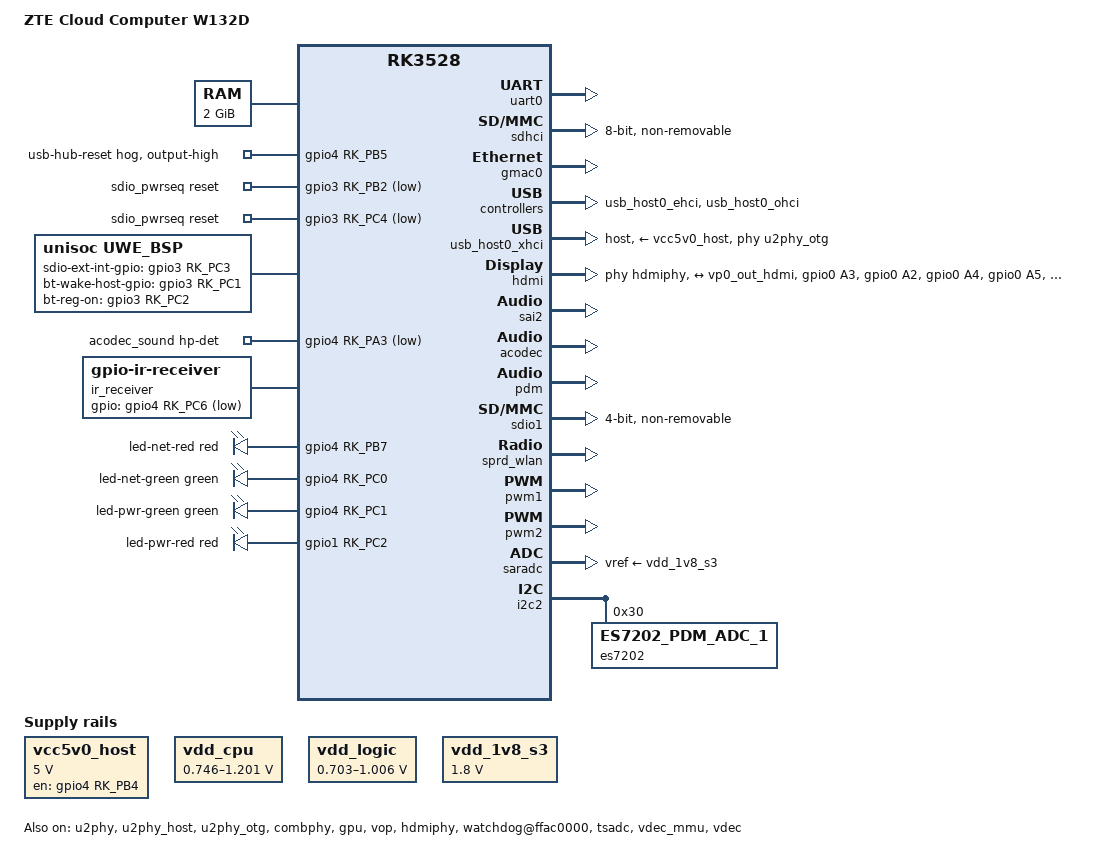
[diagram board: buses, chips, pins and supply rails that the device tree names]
// SPDX-License-Identifier: (GPL-2.0+ OR MIT)
/*
 * ZTE Cloud Computer W132D - Linux v7.1.10 stable baseline.
 *
 * This file intentionally starts from the upstream RK3528 SoC description.
 * Vendor-only rk3528-linux.dtsi nodes are not included here.
 */

/dts-v1/;

#include "rk3528.dtsi"
#include <dt-bindings/gpio/gpio.h>
#include <dt-bindings/leds/common.h>
#include <dt-bindings/phy/phy.h>
#include <dt-bindings/soc/rockchip,vop2.h>
#include <dt-bindings/thermal/thermal.h>

/ {
	model = "ZTE Cloud Computer W132D";
	compatible = "zte,w132d", "rockchip,rk3528";

	/* Mainline DRM master for the experimental RK3528 display path. */
	display_subsystem: display-subsystem {
		compatible = "rockchip,display-subsystem";
		ports = <&vop_out>;
		status = "okay";
	};

	aliases {
		ethernet0 = &gmac0;
		mmc0 = &sdhci;
		serial0 = &uart0;
	};

	chosen {
		stdout-path = "serial0:115200n8";
	};

	memory@0 {
		device_type = "memory";
		reg = <0x0 0x0 0x0 0x80000000>;
	};

	vcc5v0_host: regulator-5v0-host {
		compatible = "regulator-fixed";
		regulator-name = "vcc5v0_host";
		regulator-min-microvolt = <5000000>;
		regulator-max-microvolt = <5000000>;
		regulator-boot-on;
		regulator-always-on;
		enable-active-high;
		gpios = <&gpio4 RK_PB4 GPIO_ACTIVE_HIGH>;
	};
};

/* GM8220S USB2 hub reset is active-low; hold it deasserted. */
&gpio4 {
	usb_hub_reset_hog: usb-hub-reset-hog {
		gpio-hog;
		gpios = <RK_PB5 GPIO_ACTIVE_HIGH>;
		output-high;
		line-name = "usb-hub-reset";
	};
};

&uart0 {
	pinctrl-names = "default";
	pinctrl-0 = <&uart0m0_xfer>;
	status = "okay";
};

&sdhci {
	bus-width = <8>;
	cap-mmc-highspeed;
	max-frequency = <52000000>;
	/*
	 * Deliberately no fixed-emmc-driver-type: the vendor reference board uses
	 * type 4, but the Samsung 07S000 part fitted here rejects it and the MMC
	 * core falls back to type B anyway.
	 */
	no-sd;
	no-sdio;
	non-removable;
	status = "okay";
};

&gmac0 {
	clock_in_out = "input";
	status = "okay";
};

/* Use the upstream-style RK3528 USB2 PHY and DWC3 nodes. */
&u2phy {
	status = "okay";
};

&u2phy_host {
	phy-supply = <&vcc5v0_host>;
	status = "okay";
};

&u2phy_otg {
	phy-supply = <&vcc5v0_host>;
	status = "okay";
};

&usb_host0_ehci {
	status = "okay";
};

&usb_host0_ohci {
	status = "okay";
};

&combphy {
	status = "okay";
};

&usb_host0_xhci {
	dr_mode = "host";
	phys = <&u2phy_otg>, <&combphy PHY_TYPE_USB3>;
	phy-names = "usb2-phy", "usb3-phy";
	vbus-supply = <&vcc5v0_host>;
	maximum-speed = "super-speed";
	status = "okay";
};

/*
 * RK3528 display bring-up.  The board now selects project-local RK3528
 * HDMI PHY/glue matches; VOP2 register data is still being ported.
 */
&{/soc} {
	vop: vop@ff840000 {
		compatible = "rockchip,rk3528-vop", "rockchip,rk3568-vop";
		reg = <0x0 0xff840000 0x0 0x3000>,
		      <0x0 0xff845000 0x0 0x1000>,
		      <0x0 0xff846400 0x0 0x800>;
		reg-names = "vop", "gamma-lut", "acm-regs";
		interrupts = <GIC_SPI 109 IRQ_TYPE_LEVEL_HIGH>;
		clocks = <&cru ACLK_VOP>,
				 <&cru HCLK_VOP>,
				 <&cru DCLK_VOP0>,
				 <&cru DCLK_VOP1>,
				 <&cru DCLK_VOP1>;
		clock-names = "aclk", "hclk", "dclk_vp0", "dclk_vp1", "dclk_vp2";
		assigned-clocks = <&cru DCLK_VOP0>;
		assigned-clock-parents = <&inno_hdmiphy_clk>;
		rockchip,grf = <&vo_grf>;
		status = "okay";

		vop_out: ports {
			#address-cells = <1>;
			#size-cells = <0>;

			port@0 {
				#address-cells = <1>;
				#size-cells = <0>;
				reg = <0>;

				vp0_out_hdmi: endpoint@ROCKCHIP_VOP2_EP_HDMI0 {
					reg = <ROCKCHIP_VOP2_EP_HDMI0>;
					remote-endpoint = <&hdmi_in_vp0>;
				};
			};
		};
	};

	hdmiphy: hdmiphy@ffe00000 {
		compatible = "rockchip,rk3528-hdmi-phy", "rockchip,rk3328-hdmi-phy";
		reg = <0x0 0xffe00000 0x0 0x10000>;
		interrupts = <GIC_SPI 101 IRQ_TYPE_LEVEL_HIGH>;
		#phy-cells = <0>;
		clocks = <&cru PCLK_HDMIPHY>, <&xin24m>;
		clock-names = "sysclk", "refclk";
		status = "okay";

		/* RK3528 exposes the pixel clock through the dedicated clk-port. */
		inno_hdmiphy_clk: clk-port {
			#clock-cells = <0>;
			clock-output-names = "clk_hdmiphy_pixel_io";
			status = "okay";
		};
	};

	hdmi: hdmi@ff8d0000 {
		compatible = "rockchip,rk3528-dw-hdmi", "rockchip,rk3328-dw-hdmi";
		reg = <0x0 0xff8d0000 0x0 0x20000>,
		      <0x0 0xff610000 0x0 0x200>;
		interrupts = <GIC_SPI 102 IRQ_TYPE_LEVEL_HIGH>,
			     <GIC_SPI 103 IRQ_TYPE_LEVEL_HIGH>;
		interrupt-names = "hdmi", "hdmi_wakeup";
		clocks = <&cru PCLK_HDMI>,
				 <&cru CLK_SFR_HDMI>,
				 <&cru CLK_CEC_HDMI>,
				 <&inno_hdmiphy_clk>;
		clock-names = "iahb", "isfr", "cec", "dclk_vp0";
		ddc-i2c-scl-high-time-ns = <9625>;
		ddc-i2c-scl-low-time-ns = <10000>;
		reg-io-width = <4>;
		rockchip,grf = <&vo_grf>;
		rockchip,cts-manual;
		pinctrl-names = "default";
		/* PA2 is the RK3528 GPIO HPD workaround input, not HDMI mux 1. */
		pinctrl-0 = <&hdmi_w132d_pins>;
		phys = <&hdmiphy>;
		phy-names = "hdmi";
		hpd-gpios = <&gpio0 RK_PA2 GPIO_ACTIVE_HIGH>;
		#sound-dai-cells = <0>;
		status = "okay";

		ports {
			#address-cells = <1>;
			#size-cells = <0>;

			port@0 {
				reg = <0>;

				hdmi_in_vp0: endpoint {
					remote-endpoint = <&vp0_out_hdmi>;
				};
			};

			port@1 {
				reg = <1>;
			};
		};
	};
};

/*
 * RK3528 W132D uses GPIO0_A2 for the HDMI 5 V HPD signal.  The upstream
 * hdmi-pins group muxes PA2 to function 1, which prevents the GPIO consumer
 * and the vendor SNKDET workaround from observing the signal.
 */
&pinctrl {
	hdmi_w132d {
		hdmi_w132d_pins: hdmi-w132d-pins {
			rockchip,pins =
				<0 RK_PA3 1 &pcfg_pull_none>,
				<0 RK_PA2 0 &pcfg_pull_none>,
				<0 RK_PA4 1 &pcfg_pull_none>,
				<0 RK_PA5 1 &pcfg_pull_none>;
		};
	};
};

/* UWE5622 WCN/SDIO nodes are used by the out-of-tree mainline port. */
&sdio1 {
	bus-width = <4>;
	cap-sdio-irq;
	non-removable;
	max-frequency = <50000000>;
	status = "okay";
};

&{/} {
	sdio_pwrseq: sdio-pwrseq {
		compatible = "mmc-pwrseq-simple";
		/* Linux 7.1.10's simple pwrseq treats a single reset GPIO as a
		 * reset-controller candidate. Keep both board WCN control lines in
		 * the GPIO array so it uses the intended GPIO fallback path. */
		reset-gpios = <&gpio3 RK_PB2 GPIO_ACTIVE_LOW>,
			      <&gpio3 RK_PC4 GPIO_ACTIVE_LOW>;
		post-power-on-delay-ms = <100>;
		status = "okay";
	};

	/* The vendor module's platform drivers use these names. */
	uwe_bsp: uwe-bsp {
		compatible = "unisoc,uwe_bsp";
		sdhci-name = <&sdio1>;
		sdio-ext-int-gpio-gpios = <&gpio3 RK_PC3 GPIO_ACTIVE_HIGH>;
		bt-wake-host;
		bt-wake-host-gpio-gpios = <&gpio3 RK_PC1 GPIO_ACTIVE_HIGH>;
		bt-reg-on-gpios = <&gpio3 RK_PC2 GPIO_ACTIVE_HIGH>;
		unisoc,btwf-file-name = "/lib/firmware/uwe5622/wcnmodem.bin";
		data-irq;
		blksz-512;
		keep-power-on;
		status = "okay";
	};

	sprd_wlan: sprd-wlan {
		compatible = "sprd,unisoc-wifi";
		status = "okay";
	};

	mtty {
		compatible = "sprd,mtty";
		sprd,name = "ttyBT";
		status = "okay";
	};
};

&sdio1 {
	mmc-pwrseq = <&sdio_pwrseq>;
};

/*
 * Board hardware that mainline v7.1.10 does not describe for the RK3528 yet.
 *
 * The SoC-level blocks below are added through &{/soc} the same way the
 * display path above is: they are not board wiring, but keeping them in the
 * board file avoids carrying a second rk3528.dtsi patch while the register
 * data is still being validated.  Every register address, interrupt and clock
 * topology comes from this machine's own vendor DTB, with the vendor BSP
 * clock/reset IDs re-mapped onto the mainline rockchip,rk3528-cru.h numbering.
 */
&{/} {
	/*
	 * vdd_cpu drives the CPU rail from PWM1.
	 *
	 * pwm-dutycycle-range is mandatory here.  Mainline pwm-rockchip handles
	 * PWM_POLARITY_INVERSED in the opposite direction from the vendor kernel,
	 * so copying the vendor description verbatim maps a high voltage request
	 * onto a low duty cycle; the board then browns out at 2016 MHz.
	 *
	 * regulator-init-microvolt is deliberately absent: applying a voltage at
	 * probe time, before the mapping direction has been observed, is what
	 * bricked an earlier bring-up attempt.
	 */
	vdd_cpu: regulator-vdd-cpu {
		compatible = "pwm-regulator";
		pwms = <&pwm1 0 5000 1>;
		pwm-dutycycle-range = <100 0>;
		regulator-name = "vdd_cpu";
		regulator-min-microvolt = <746000>;
		regulator-max-microvolt = <1201000>;
		regulator-settling-time-up-us = <250>;
		regulator-always-on;
		regulator-boot-on;
	};
};

&pwm1 {
	status = "okay";
};

/*
 * The mainline opp-table-cpu starts at 1200 MHz.  This machine is idle over
 * 90% of the time, and the SCMI firmware itself reports 408 MHz as the lower
 * bound (clk_min_rate on scmi_clk_cpu), so add the four vendor low steps.
 *
 * All four use 875000 uV rather than the vendor 825000 uV base: the vendor
 * kernel picks a voltage from an nvmem leakage bin and raises everything at or
 * below 1200 MHz to 875000 uV anyway.  Mainline already uses 875000 uV at
 * 1200 MHz, so this reuses a value the tree already trusts.
 */
&cpu_opp_table {
	opp-408000000 {
		opp-hz = /bits/ 64 <408000000>;
		opp-microvolt = <875000 875000 1100000>;
		clock-latency-ns = <40000>;
	};

	opp-600000000 {
		opp-hz = /bits/ 64 <600000000>;
		opp-microvolt = <875000 875000 1100000>;
		clock-latency-ns = <40000>;
	};

	opp-816000000 {
		opp-hz = /bits/ 64 <816000000>;
		opp-microvolt = <875000 875000 1100000>;
		clock-latency-ns = <40000>;
	};

	opp-1008000000 {
		opp-hz = /bits/ 64 <1008000000>;
		opp-microvolt = <875000 875000 1100000>;
		clock-latency-ns = <40000>;
	};
};

&cpu0 {
	cpu-supply = <&vdd_cpu>;
	#cooling-cells = <2>;
	dynamic-power-coefficient = <147>;
};

&cpu1 {
	cpu-supply = <&vdd_cpu>;
	#cooling-cells = <2>;
	dynamic-power-coefficient = <147>;
};

&cpu2 {
	cpu-supply = <&vdd_cpu>;
	#cooling-cells = <2>;
	dynamic-power-coefficient = <147>;
};

&cpu3 {
	cpu-supply = <&vdd_cpu>;
	#cooling-cells = <2>;
	dynamic-power-coefficient = <147>;
};

&{/soc} {
	watchdog@ffac0000 {
		compatible = "snps,dw-wdt";
		reg = <0x0 0xffac0000 0x0 0x100>;
		clocks = <&cru TCLK_WDT_NS>, <&cru PCLK_WDT_NS>;
		clock-names = "tclk", "pclk";
		resets = <&cru SRST_P_WDT_NS>;
		reset-names = "reset";
		status = "okay";
	};




	tsadc: tsadc@ffad0000 {
		compatible = "rockchip,rk3528-tsadc";
		reg = <0x0 0xffad0000 0x0 0x400>;
		interrupts = <GIC_SPI 139 IRQ_TYPE_LEVEL_HIGH>;
		clocks = <&cru CLK_TSADC>, <&cru CLK_TSADC_TSEN>,
			 <&cru PCLK_TSADC>;
		clock-names = "tsadc", "tsadc_tsen", "apb_pclk";
		assigned-clocks = <&cru CLK_TSADC>, <&cru CLK_TSADC_TSEN>;
		assigned-clock-rates = <1200000>, <12000000>;
		resets = <&cru SRST_TSADC>, <&cru SRST_P_TSADC>;
		reset-names = "tsadc", "tsadc-apb";
		rockchip,grf = <&vpu_grf>;
		rockchip,hw-tshut-temp = <120000>;
		rockchip,hw-tshut-mode = <0>;
		rockchip,hw-tshut-polarity = <0>;
		#thermal-sensor-cells = <1>;
		status = "okay";
	};
};

/*
 * Three trips: 95 C and 110 C passive, 120 C critical.  Only the 110 C trip
 * throttles the CPU; the 95 C one is left for the GPU to use first, so the
 * GPU gives up headroom before the CPU does.  Measured peak with four CPUs
 * loaded is 58 C, so this never fires in normal use.
 */
&{/} {
	thermal-zones {
		soc_thermal: soc-thermal {
			polling-delay-passive = <20>;
			polling-delay = <1000>;
			thermal-sensors = <&tsadc 0>;

			trips {
				soc_alert0: trip-point-0 {
					temperature = <95000>;
					hysteresis = <2000>;
					type = "passive";
				};

				soc_alert1: trip-point-1 {
					temperature = <110000>;
					hysteresis = <2000>;
					type = "passive";
				};

				soc-crit {
					temperature = <120000>;
					hysteresis = <2000>;
					type = "critical";
				};
			};

			cooling-maps {
				map0 {
					trip = <&soc_alert1>;
					cooling-device = <&cpu0 THERMAL_NO_LIMIT THERMAL_NO_LIMIT>;
					contribution = <1024>;
				};
			};
		};
	};
};

&{/} {
	/*
	 * vdd_logic supplies the GPU rail from PWM2.  Without it the rail stays
	 * at the 703 mV left by U-Boot and lima refuses to probe with
	 * "no regulator (mali) found"; the 700/800 MHz OPPs would be undervolted.
	 */
	vdd_logic: regulator-vdd-logic {
		compatible = "pwm-regulator";
		pwms = <&pwm2 0 5000 1>;
		pwm-dutycycle-range = <100 0>;
		regulator-name = "vdd_logic";
		regulator-min-microvolt = <703000>;
		regulator-max-microvolt = <1006000>;
		regulator-settling-time-up-us = <250>;
		regulator-always-on;
		regulator-boot-on;
	};
};

&pwm2 {
	status = "okay";
};

/*
 * Mali-450 needs no driver change - mainline lima already matches
 * "arm,mali-450" - only the rail and the enable.  With vdd_logic connected all
 * five OPPs (300/500/600/700/800 MHz) run; 800 MHz peaks at 57 C against a
 * 95 C trip.
 */
&gpu {
	mali-supply = <&vdd_logic>;
	#cooling-cells = <2>;
	status = "okay";
};

/*
 * Hang the GPU off the 95 C trip that the SoC zone leaves free, so a GPU
 * downclock - unnoticeable on this headless machine - happens before the CPU
 * is throttled at 110 C.  The GPU peaks at 57 C at 800 MHz, so this is
 * configuration completeness rather than a fix for an observed problem.
 */
&soc_thermal {
	cooling-maps {
		map1 {
			trip = <&soc_alert0>;
			cooling-device = <&gpu THERMAL_NO_LIMIT THERMAL_NO_LIMIT>;
			contribution = <1024>;
		};
	};
};

&{/soc} {
	/*
	 * The vendor DTB uses the BSP-only "rockchip,iommu-v2"; mainline reaches
	 * the same v2 ops through "rockchip,rk3568-iommu".
	 */
	vdec_mmu: iommu@ff740800 {
		compatible = "rockchip,rk3568-iommu";
		reg = <0x0 0xff740800 0x0 0x40>,
		      <0x0 0xff740900 0x0 0x40>;
		interrupts = <GIC_SPI 95 IRQ_TYPE_LEVEL_HIGH>;
		clocks = <&cru ACLK_RKVDEC>, <&cru HCLK_RKVDEC>;
		clock-names = "aclk", "iface";
		#iommu-cells = <0>;
		status = "okay";
	};




	/*
	 * No power-domains on purpose.  rk3528.dtsi leaves
	 * power-domain@RK3528_PD_RKVDEC disabled, so referencing it makes both
	 * devices fail with deferred probe timeouts.  The vendor DTB does not
	 * use a power domain here either: the RK3528 vdec domain is defined with
	 * a zero power mask, i.e. bus idle handshake only, permanently powered.
	 */
	vdec: video-codec@ff740000 {
		compatible = "rockchip,rk3528-vdec";
		reg = <0x0 0xff740000 0x0 0x100>,
		      <0x0 0xff740100 0x0 0x400>;
		reg-names = "link", "function";
		interrupts = <GIC_SPI 94 IRQ_TYPE_LEVEL_HIGH>;
		clocks = <&cru ACLK_RKVDEC>, <&cru HCLK_RKVDEC>,
			 <&cru CLK_HEVC_CA_RKVDEC>;
		clock-names = "axi", "ahb", "hevc_cabac";
		assigned-clocks = <&cru ACLK_RKVDEC>, <&cru CLK_HEVC_CA_RKVDEC>;
		assigned-clock-rates = <340000000>, <600000000>;
		iommus = <&vdec_mmu>;
		sram = <&vdec_sram>;
		status = "okay";
	};




	/*
	 * On-chip SRAM used for the decoder row cache.  The child must carry
	 * "pool" or drivers/misc/sram.c never creates a named gen_pool for it.
	 */
	sram@fe480000 {
		compatible = "mmio-sram";
		reg = <0x0 0xfe480000 0x0 0xc000>;
		ranges = <0x0 0x0 0xfe480000 0xc000>;
		#address-cells = <1>;
		#size-cells = <1>;

		vdec_sram: rkvdec-sram@0 {
			reg = <0x0 0xc000>;
			pool;
		};
	};
};

&{/} {
	/* SARADC reference; channel 2 distinguishes headphone from headset. */
	vdd_1v8_s3: regulator-vdd-1v8-s3 {
		compatible = "regulator-fixed";
		regulator-name = "vdd_1v8_s3";
		regulator-min-microvolt = <1800000>;
		regulator-max-microvolt = <1800000>;
		regulator-always-on;
		regulator-boot-on;
	};




	/*
	 * Playback: SAI2 -> on-chip ACODEC (DAC only) -> LINEOUT -> 3.5 mm jack.
	 * The vendor rockchip,multicodecs-card has no mainline equivalent;
	 * simple-audio-card covers everything this path needs.
	 */
	acodec_sound: acodec-sound {
		compatible = "simple-audio-card";
		simple-audio-card,name = "rk3528-acodec";
		simple-audio-card,format = "i2s";
		simple-audio-card,mclk-fs = <256>;
		simple-audio-card,bitclock-master = <&acodec_sound_cpu>;
		simple-audio-card,frame-master = <&acodec_sound_cpu>;
		simple-audio-card,hp-det-gpios = <&gpio4 RK_PA3 GPIO_ACTIVE_LOW>;
		simple-audio-card,widgets = "Headphone", "Headphones";
		pinctrl-names = "default";
		pinctrl-0 = <&hp_det>;

		acodec_sound_cpu: simple-audio-card,cpu {
			sound-dai = <&sai2>;
		};

		simple-audio-card,codec {
			sound-dai = <&acodec>;
		};
	};




	/*
	 * Capture: ES7202 analog-to-PDM bridge -> PDM SDI2.  PDM is a
	 * unidirectional data line, so this card carries no format/mclk-fs.
	 */
	es7202_sound: es7202-sound {
		compatible = "simple-audio-card";
		simple-audio-card,name = "rockchip,pdm-mic-array";

		simple-audio-card,cpu {
			sound-dai = <&pdm>;
		};

		simple-audio-card,codec {
			sound-dai = <&es7202>;
		};
	};
};

&saradc {
	vref-supply = <&vdd_1v8_s3>;
	status = "okay";
};

&i2c2 {
	status = "okay";

	/* The vendor codec driver matches on this compatible string. */
	es7202: es7202@30 {
		compatible = "ES7202_PDM_ADC_1";
		reg = <0x30>;
		#sound-dai-cells = <0>;
		status = "okay";
	};
};

&pinctrl {
	headphone {
		/*
		 * GPIO4_A3 has no external pull-up, so without the internal one
		 * the detect line reads low forever and a headphone always looks
		 * inserted.  The vendor hp-det group uses pcfg_pull_up too.
		 */
		hp_det: hp-det {
			rockchip,pins = <4 RK_PA3 0 &pcfg_pull_up>;
		};
	};
};

&{/soc} {
	/*
	 * SAI2 is wired to the on-chip codec, so it has no pins.  Mainline only
	 * matches rockchip,rk3576-sai, but the RK3528 register layout is
	 * identical and the driver reads SAI_VERSION at runtime; the rk3576
	 * fallback is kept so an unpatched driver still binds.
	 */
	sai2: sai@ffb90000 {
		compatible = "rockchip,rk3528-sai", "rockchip,rk3576-sai";
		reg = <0x0 0xffb90000 0x0 0x1000>;
		interrupts = <GIC_SPI 127 IRQ_TYPE_LEVEL_HIGH>;
		clocks = <&cru MCLK_SAI_I2S2>, <&cru HCLK_SAI_I2S2>;
		clock-names = "mclk", "hclk";
		dmas = <&dmac 4>;
		dma-names = "tx";
		resets = <&cru SRST_M_SAI_I2S2>, <&cru SRST_H_SAI_I2S2>;
		reset-names = "m", "h";
		#sound-dai-cells = <0>;
		status = "okay";
	};




	acodec: acodec@ffe10000 {
		compatible = "rockchip,rk3528-codec";
		reg = <0x0 0xffe10000 0x0 0x1000>;
		clocks = <&cru PCLK_ACODEC>, <&cru MCLK_ACODEC_TX>;
		clock-names = "pclk", "mclk";
		resets = <&cru SRST_P_ACODEC>;
		reset-names = "acodec";
		/* External amplifier enable. */
		pa-ctl-gpios = <&gpio4 RK_PC3 GPIO_ACTIVE_HIGH>;
		#sound-dai-cells = <0>;
		status = "okay";
	};




	pdm: pdm@ffbb0000 {
		compatible = "rockchip,rk3528-pdm", "rockchip,rk3568-pdm";
		reg = <0x0 0xffbb0000 0x0 0x1000>;
		clocks = <&cru MCLK_PDM>, <&cru HCLK_PDM>;
		clock-names = "pdm_clk", "pdm_hclk";
		dmas = <&dmac 6>;
		dma-names = "rx";
		pinctrl-names = "default";
		pinctrl-0 = <&pdm_clk1>, <&pdm_sdi2>;
		/* Only SDI2 is populated; map it onto path0. */
		rockchip,path-map = <2 1 0 3>;
		#sound-dai-cells = <0>;
		status = "okay";
	};
};

&{/} {
	/*
	 * The vendor DTB drives the IR receiver with rockchip,remotectl-pwm,
	 * which captures pulse widths in PWM3 hardware.  Mainline has neither
	 * that driver nor capture support in pwm-rockchip, so the same pin is
	 * muxed back to plain GPIO and decoded by gpio-ir-receiver.  pwm3 must
	 * stay disabled for the pin to be free.
	 *
	 * No wakeup-source: this board only ever does software standby, so the
	 * pin never participates in a hardware suspend/resume path.
	 */
	ir_receiver: ir-receiver {
		compatible = "gpio-ir-receiver";
		gpios = <&gpio4 RK_PC6 GPIO_ACTIVE_LOW>;
		status = "okay";
	};
};

&{/} {
	/*
	 * Panel indicators.  Do not use the legacy "label" property here:
	 * leds-gpio only passes an fwnode to the LED core when a child has no
	 * label, and led-class only reads linux,default-trigger from that
	 * fwnode - with a label every trigger silently ends up as [none].
	 */
	leds {
		compatible = "gpio-leds";

		led-net-red {
			color = <LED_COLOR_ID_RED>;
			function = LED_FUNCTION_LAN;
			gpios = <&gpio4 RK_PB7 GPIO_ACTIVE_HIGH>;
			default-state = "off";
			linux,default-trigger = "none";
		};

		led-net-green {
			color = <LED_COLOR_ID_GREEN>;
			function = LED_FUNCTION_LAN;
			gpios = <&gpio4 RK_PC0 GPIO_ACTIVE_HIGH>;
			default-state = "off";
			linux,default-trigger = "none";
		};

		led-pwr-green {
			color = <LED_COLOR_ID_GREEN>;
			function = LED_FUNCTION_POWER;
			gpios = <&gpio4 RK_PC1 GPIO_ACTIVE_HIGH>;
			default-state = "off";
			linux,default-trigger = "none";
		};

		led-pwr-red {
			color = <LED_COLOR_ID_RED>;
			function = LED_FUNCTION_POWER;
			gpios = <&gpio1 RK_PC2 GPIO_ACTIVE_HIGH>;
			default-state = "on";
			linux,default-trigger = "none";
		};
	};
};

&{/firmware} {
	/*
	 * OP-TEE is already running: our U-Boot FIT loads it at 0x08400000, and
	 * U-Boot removes that range from /memory before entering Linux, so the
	 * kernel never maps it.  Only the DT node was missing, which is why
	 * /dev/tee0 never appeared.
	 */
	optee {
		compatible = "linaro,optee-tz";
		method = "smc";
	};
};

&{/reserved-memory} {
	/*
	 * Crash log storage that survives a warm reset - it is ordinary DRAM in
	 * the firmware-reserved low 2 MB that neither Linux nor the TPL touches.
	 * It does not survive a power cycle.
	 *
	 * 0x110000..0x1effff is free: the ATF images end at 0xa2f71 and the SCMI
	 * shmem sits at 0x10f000+0x100.
	 *
	 * record-size and console-size must be powers of two; ramoops rounds
	 * anything else down without a diagnostic.
	 */
	ramoops@110000 {
		compatible = "ramoops";
		reg = <0x0 0x110000 0x0 0xe0000>;
		record-size = <0x10000>;
		console-size = <0x40000>;
		pmsg-size = <0x0>;
		ftrace-size = <0x0>;
		/* KMSG_DUMP_EMERG, so emergency_restart() is captured too. */
		max-reason = <3>;
	};
};
